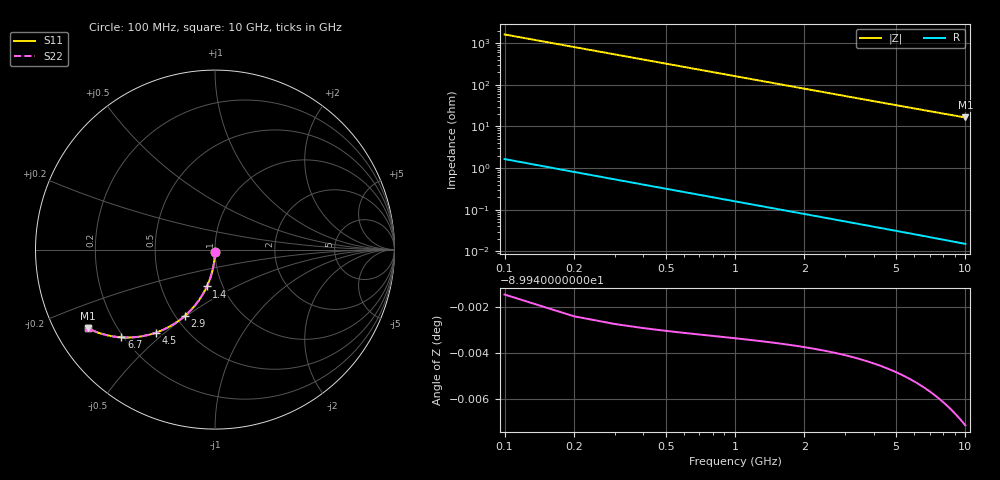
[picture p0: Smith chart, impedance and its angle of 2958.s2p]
# Hz S RI R 50.00
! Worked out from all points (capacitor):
!   100 points, 100 MHz to 10 GHz, reference 50 ohm
!   read as one part in shunt: C = 989 fF near 100 MHz
!   lowest |Z| = 16.4 ohm at 10 GHz (marker M1)
!   S11 on the Smith chart (normalised r, x): 100 MHz: 1.00, -0.03; 1.4 GHz: 0.84, -0.36; 2.9 GHz: 0.56, -0.49; 4.5 GHz: 0.34, -0.47; 6.7 GHz: 0.19, -0.38; 10 GHz: 0.10, -0.28
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1e8  -0.000213 -0.0154  0.9997 -0.0157  0.9997 -0.0157  -0.000213 -0.0154
2e8  -0.000951 -0.0307  0.999 -0.0313  0.999 -0.0313  -0.000951 -0.0307
3e8  -0.00217 -0.0461  0.9977 -0.047  0.9977 -0.047  -0.00217 -0.0461
4e8  -0.00386 -0.0613  0.996 -0.0625  0.996 -0.0625  -0.00386 -0.0613
5e8  -0.00603 -0.0765  0.9939 -0.078  0.9939 -0.078  -0.00603 -0.0765
6e8  -0.00866 -0.0915  0.9912 -0.0933  0.9912 -0.0933  -0.00866 -0.0915
7e8  -0.0117 -0.1064  0.9882 -0.1085  0.9882 -0.1085  -0.0117 -0.1064
9e8  -0.0193 -0.1358  0.9806 -0.1385  0.9806 -0.1385  -0.0193 -0.1358
1.1e9  -0.0285 -0.1644  0.9714 -0.1677  0.9714 -0.1677  -0.0285 -0.1644
1.4e9  -0.0453 -0.2055  0.9546 -0.2097  0.9546 -0.2097  -0.0453 -0.2055
1.8e9  -0.0727 -0.2566  0.9272 -0.262  0.9272 -0.262  -0.0727 -0.2566
2.3e9  -0.1135 -0.3133  0.8864 -0.3202  0.8864 -0.3202  -0.1135 -0.3133
2.9e9  -0.169 -0.37  0.8308 -0.3787  0.8308 -0.3787  -0.169 -0.37
3.4e9  -0.2185 -0.4077  0.7813 -0.4179  0.7813 -0.4179  -0.2185 -0.4077
3.9e9  -0.269 -0.4371  0.7308 -0.4489  0.7308 -0.4489  -0.269 -0.4371
4.5e9  -0.3289 -0.4625  0.6709 -0.4762  0.6709 -0.4762  -0.3289 -0.4625
5.1e9  -0.3864 -0.4787  0.6134 -0.4942  0.6134 -0.4942  -0.3864 -0.4787
5.9e9  -0.4575 -0.4887  0.5423 -0.5067  0.5423 -0.5067  -0.4575 -0.4887
6.7e9  -0.5212 -0.4888  0.4785 -0.5093  0.4785 -0.5093  -0.5212 -0.4888
7.5e9  -0.5772 -0.4819  0.4224 -0.505  0.4224 -0.505  -0.5772 -0.4819
8.4e9  -0.6317 -0.4688  0.3679 -0.4947  0.3679 -0.4947  -0.6317 -0.4688
1e10  -0.7091 -0.438  0.2903 -0.4691  0.2903 -0.4691  -0.7091 -0.438
